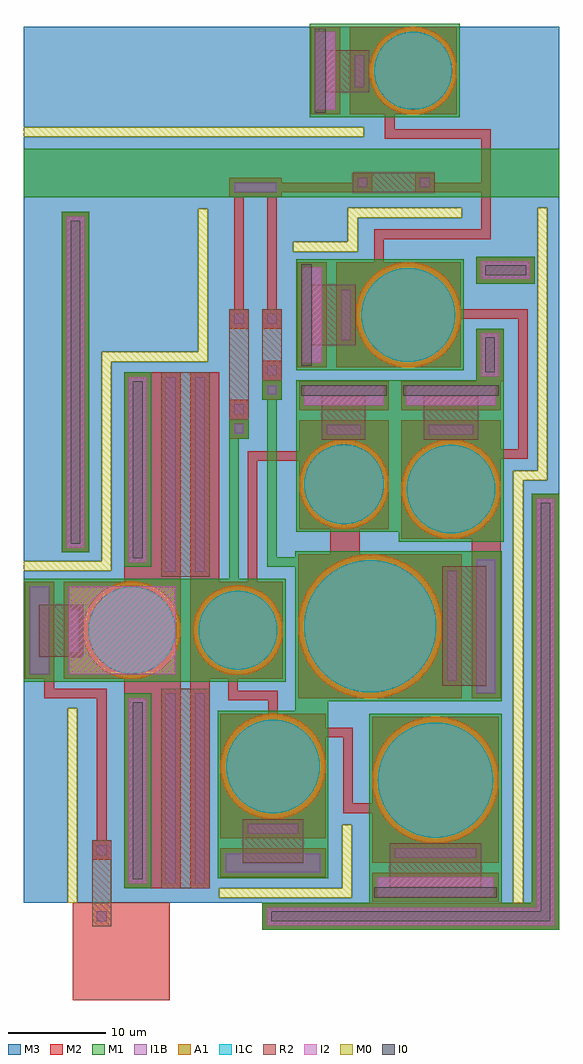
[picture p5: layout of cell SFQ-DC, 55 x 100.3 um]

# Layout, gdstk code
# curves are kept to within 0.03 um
from math import pi, radians
import gdstk
lib = gdstk.Library(unit=1e-6, precision=1e-09)
def R(c, l, rs):  # rectangles x0, y0, x1, y1
    for r in rs: c.add(gdstk.rectangle(r[:2], r[2:], *l))
def P(c, l, *ps):  # polygons
    for p in ps: c.add(gdstk.Polygon(p, *l))
M1 = (1, 0)
I1B = (3, 0)
I1C = (4, 0)
A1 = (5, 0)
M2 = (6, 0)
I2 = (8, 0)
R2 = (9, 0)
M3 = (10, 0)
M0 = (30, 0)
I0 = (31, 0)

ak_qc1p0r381 = lib.new_cell('ak_qc1p0r381')
R(ak_qc1p0r381, I1B, [(-2.5,-5.5,2.6,-3.5), (-2.1,-1.5,2.2,-0.5)])
R(ak_qc1p0r381, M2, [(-3,-6,3.1,-3), (-3,-2,3.1,0)])
R(ak_qc1p0r381, R2, [(-2.6,-4.5,2.7,0)])

ak_qc1p1j250 = lib.new_cell('ak_qc1p1j250')
P(ak_qc1p1j250, I1B, [(0,-4.5),(-0.936,-4.402),(-1.686,-4.172),(-2.516,-3.731),(-3.182,-3.182),(-3.731,-2.516),(-4.172,-1.686),(-4.402,-0.936),(-4.5,0),(-4.402,0.936),(-4.172,1.686),(-3.731,2.516),(-3.182,3.182),(-2.516,3.731),(-1.686,4.172),(-0.936,4.402),(0,4.5),(0.936,4.402),(1.686,4.172),(2.516,3.731),(3.182,3.182),(3.731,2.516),(4.172,1.686),(4.402,0.936),(4.5,0),(4.402,-0.936),(4.172,-1.686),(3.731,-2.516),(3.182,-3.182),(2.516,-3.731),(1.686,-4.172),(0.936,-4.402)])
P(ak_qc1p1j250, I1C, [(-0.078,-4.46),(-0.927,-4.363),(-1.743,-4.106),(-2.494,-3.698),(-3.154,-3.154),(-3.698,-2.494),(-4.136,-1.671),(-4.393,-0.775),(-4.46,0.078),(-4.363,0.927),(-4.106,1.743),(-3.698,2.494),(-3.154,3.154),(-2.494,3.698),(-1.671,4.136),(-0.775,4.393),(0.078,4.46),(0.927,4.363),(1.743,4.106),(2.494,3.698),(3.154,3.154),(3.698,2.494),(4.136,1.671),(4.393,0.775),(4.46,-0.078),(4.363,-0.927),(4.106,-1.743),(3.698,-2.494),(3.154,-3.154),(2.494,-3.698),(1.671,-4.136),(0.775,-4.393)])
P(ak_qc1p1j250, A1, [(0,-5),(-1.04,-4.891),(-1.954,-4.603),(-2.796,-4.145),(-3.536,-3.536),(-4.145,-2.796),(-4.603,-1.954),(-4.891,-1.04),(-5,0),(-4.891,1.04),(-4.603,1.954),(-4.145,2.796),(-3.536,3.536),(-2.796,4.145),(-1.954,4.603),(-1.04,4.891),(0,5),(1.04,4.891),(1.954,4.603),(2.796,4.145),(3.536,3.536),(4.145,2.796),(4.603,1.954),(4.891,1.04),(5,0),(4.891,-1.04),(4.603,-1.954),(4.145,-2.796),(3.536,-3.536),(2.796,-4.145),(1.954,-4.603),(1.04,-4.891)])

ak_qc1p1j250s = lib.new_cell('ak_qc1p1j250s')
R(ak_qc1p1j250s, M1, [(-5.3,-11.1,5.3,5.3)])
R(ak_qc1p1j250s, I1B, [(-4.5,-10.5,4.5,-8.5)])
R(ak_qc1p1j250s, M2, [(-5,-11,5,-8), (-5,-7,5,5)])
ak_qc1p1j250s.add(gdstk.Reference(ak_qc1p0r381, (0,-5)))
ak_qc1p1j250s.add(gdstk.Reference(ak_qc1p1j250, (0,0)))

ak_qc1p1j250sgu = lib.new_cell('ak_qc1p1j250sgu')
R(ak_qc1p1j250sgu, I2, [(-4.5,-6.5,4.5,4.5)])
R(ak_qc1p1j250sgu, M3, [(-5,-7,5,5)])
ak_qc1p1j250sgu.add(gdstk.Reference(ak_qc1p1j250s, (0,0)))

ak_qc1p0r328 = lib.new_cell('ak_qc1p0r328')
R(ak_qc1p0r328, I1B, [(-3,-5.5,3,-3.5), (-2.6,-1.5,2.6,-0.5)])
R(ak_qc1p0r328, M2, [(-3.5,-6,3.5,-3), (-3.5,-2,3.5,0)])
R(ak_qc1p0r328, R2, [(-3.1,-4.5,3.1,0)])

ak_qc1p1j450 = lib.new_cell('ak_qc1p1j450')
P(ak_qc1p1j450, I1B, [(0,-4.8),(-0.916,-4.712),(-1.876,-4.418),(-2.684,-3.979),(-3.394,-3.394),(-3.979,-2.684),(-4.418,-1.876),(-4.712,-0.916),(-4.8,0),(-4.712,0.916),(-4.418,1.876),(-3.979,2.684),(-3.394,3.394),(-2.684,3.979),(-1.876,4.418),(-0.916,4.712),(0,4.8),(0.916,4.712),(1.876,4.418),(2.684,3.979),(3.394,3.394),(3.979,2.684),(4.418,1.876),(4.712,0.916),(4.8,0),(4.712,-0.916),(4.418,-1.876),(3.979,-2.684),(3.394,-3.394),(2.684,-3.979),(1.876,-4.418),(0.916,-4.712)])
P(ak_qc1p1j450, I1C, [(0,-4.804),(-0.917,-4.716),(-1.8,-4.454),(-2.686,-3.983),(-3.397,-3.397),(-3.983,-2.686),(-4.454,-1.8),(-4.716,-0.917),(-4.804,0),(-4.716,0.917),(-4.454,1.8),(-3.983,2.686),(-3.397,3.397),(-2.686,3.983),(-1.8,4.454),(-0.917,4.716),(0,4.804),(0.917,4.716),(1.8,4.454),(2.686,3.983),(3.397,3.397),(3.983,2.686),(4.454,1.8),(4.716,0.917),(4.804,0),(4.716,-0.917),(4.454,-1.8),(3.983,-2.686),(3.397,-3.397),(2.686,-3.983),(1.8,-4.454),(0.917,-4.716)])
P(ak_qc1p1j450, A1, [(0,-5.4),(-1.03,-5.301),(-2.11,-4.971),(-3.02,-4.477),(-3.818,-3.818),(-4.477,-3.02),(-4.971,-2.11),(-5.301,-1.03),(-5.4,0),(-5.301,1.03),(-4.971,2.11),(-4.477,3.02),(-3.818,3.818),(-3.02,4.477),(-2.11,4.971),(-1.03,5.301),(0,5.4),(1.03,5.301),(2.11,4.971),(3.02,4.477),(3.818,3.818),(4.477,3.02),(4.971,2.11),(5.301,1.03),(5.4,0),(5.301,-1.03),(4.971,-2.11),(4.477,-3.02),(3.818,-3.818),(3.02,-4.477),(2.11,-4.971),(1.03,-5.301)])

ak_qc1p1j450s = lib.new_cell('ak_qc1p1j450s')
R(ak_qc1p1j450s, M1, [(-5.7,-11.5,5.7,5.7)])
R(ak_qc1p1j450s, I1B, [(-4.9,-10.9,4.9,-8.9)])
R(ak_qc1p1j450s, M2, [(-5.4,-11.4,5.4,-8.4), (-5.4,-7.4,5.4,5.4)])
ak_qc1p1j450s.add(gdstk.Reference(ak_qc1p0r328, (0,-5.4)))
ak_qc1p1j450s.add(gdstk.Reference(ak_qc1p1j450, (0,0)))

ak_qc1vm2r2_3 = lib.new_cell('ak_qc1vm2r2$3')
R(ak_qc1vm2r2_3, I1B, [(-0.5,-0.5,0.5,0.5)])
R(ak_qc1vm2r2_3, M2, [(-1,-1,1,1)])
R(ak_qc1vm2r2_3, R2, [(-1,-1,1,1)])

ak_qc1p0r326 = lib.new_cell('ak_qc1p0r326')
R(ak_qc1p0r326, I1B, [(-3,-5.5,3,-3.5), (-2.6,-1.5,2.6,-0.5)])
R(ak_qc1p0r326, M2, [(-3.5,-6,3.5,-3), (-3.5,-2,3.5,0)])
R(ak_qc1p0r326, R2, [(-3.1,-4.5,3.1,0)])

ak_qc1p1j460 = lib.new_cell('ak_qc1p1j460')
P(ak_qc1p1j460, I1B, [(0,-4.8),(-0.916,-4.712),(-1.876,-4.418),(-2.684,-3.979),(-3.394,-3.394),(-3.979,-2.684),(-4.418,-1.876),(-4.712,-0.916),(-4.8,0),(-4.712,0.916),(-4.418,1.876),(-3.979,2.684),(-3.394,3.394),(-2.684,3.979),(-1.876,4.418),(-0.916,4.712),(0,4.8),(0.916,4.712),(1.876,4.418),(2.684,3.979),(3.394,3.394),(3.979,2.684),(4.418,1.876),(4.712,0.916),(4.8,0),(4.712,-0.916),(4.418,-1.876),(3.979,-2.684),(3.394,-3.394),(2.684,-3.979),(1.876,-4.418),(0.916,-4.712)])
P(ak_qc1p1j460, I1C, [(-0.084,-4.82),(-1.084,-4.697),(-1.961,-4.404),(-2.765,-3.949),(-3.468,-3.349),(-4.043,-2.625),(-4.469,-1.806),(-4.732,-0.92),(-4.82,0.084),(-4.697,1.084),(-4.404,1.961),(-3.949,2.765),(-3.349,3.468),(-2.625,4.043),(-1.806,4.469),(-0.92,4.732),(0.084,4.82),(1.084,4.697),(1.961,4.404),(2.765,3.949),(3.468,3.349),(4.043,2.625),(4.469,1.806),(4.732,0.92),(4.82,-0.084),(4.697,-1.084),(4.404,-1.961),(3.949,-2.765),(3.349,-3.468),(2.625,-4.043),(1.806,-4.469),(0.92,-4.732)])
P(ak_qc1p1j460, A1, [(0,-5.4),(-1.03,-5.301),(-2.11,-4.971),(-3.02,-4.477),(-3.818,-3.818),(-4.477,-3.02),(-4.971,-2.11),(-5.301,-1.03),(-5.4,0),(-5.301,1.03),(-4.971,2.11),(-4.477,3.02),(-3.818,3.818),(-3.02,4.477),(-2.11,4.971),(-1.03,5.301),(0,5.4),(1.03,5.301),(2.11,4.971),(3.02,4.477),(3.818,3.818),(4.477,3.02),(4.971,2.11),(5.301,1.03),(5.4,0),(5.301,-1.03),(4.971,-2.11),(4.477,-3.02),(3.818,-3.818),(3.02,-4.477),(2.11,-4.971),(1.03,-5.301)])

ak_qc1p1j460s = lib.new_cell('ak_qc1p1j460s')
R(ak_qc1p1j460s, M1, [(-5.7,-11.5,5.7,5.7)])
R(ak_qc1p1j460s, I1B, [(-4.9,-10.9,4.9,-8.9)])
R(ak_qc1p1j460s, M2, [(-5.4,-11.4,5.4,-8.4), (-5.4,-7.4,5.4,5.4)])
ak_qc1p1j460s.add(gdstk.Reference(ak_qc1p0r326, (0,-5.4)))
ak_qc1p1j460s.add(gdstk.Reference(ak_qc1p1j460, (0,0)))

ak_qc1p1j460sgd = lib.new_cell('ak_qc1p1j460sgd')
R(ak_qc1p1j460sgd, I2, [(-4.9,-10.9,4.9,-8.9)])
R(ak_qc1p1j460sgd, M3, [(-5.4,-11.4,5.4,-8.4)])
R(ak_qc1p1j460sgd, I0, [(-5.2,-11,5.2,-9.9)])
ak_qc1p1j460sgd.add(gdstk.Reference(ak_qc1p1j460s, (0,0)))

ak_qc1p1j000 = lib.new_cell('ak_qc1p1j000')
P(ak_qc1p1j000, I1B, [(0,-4),(-0.763,-3.927),(-1.498,-3.709),(-2.179,-3.355),(-2.779,-2.877),(-3.277,-2.294),(-3.682,-1.563),(-3.913,-0.832),(-4,0),(-3.927,0.763),(-3.709,1.498),(-3.355,2.179),(-2.877,2.779),(-2.294,3.277),(-1.563,3.682),(-0.832,3.913),(0,4),(0.763,3.927),(1.498,3.709),(2.179,3.355),(2.779,2.877),(3.277,2.294),(3.682,1.563),(3.913,0.832),(4,0),(3.927,-0.763),(3.709,-1.498),(3.355,-2.179),(2.877,-2.779),(2.294,-3.277),(1.563,-3.682),(0.832,-3.913)])
P(ak_qc1p1j000, I1C, [(-0.38,-3.98),(-1.18,-3.82),(-1.94,-3.5),(-2.62,-3.02),(-3.1,-2.52),(-3.46,-2),(-3.8,-1.24),(-3.96,-0.56),(-3.98,0.38),(-3.8,1.24),(-3.52,1.9),(-3.14,2.48),(-2.54,3.08),(-1.82,3.56),(-1.18,3.82),(-0.38,3.98),(0.38,3.98),(1.12,3.84),(1.86,3.54),(2.48,3.14),(3.16,2.44),(3.54,1.86),(3.84,1.12),(3.98,0.38),(3.98,-0.4),(3.84,-1.12),(3.54,-1.86),(3.1,-2.52),(2.5,-3.12),(1.96,-3.48),(1.56,-3.68),(1.04,-3.86),(0.38,-3.98)])
P(ak_qc1p1j000, A1, [(0,-4.5),(-0.936,-4.402),(-1.686,-4.172),(-2.516,-3.731),(-3.182,-3.182),(-3.731,-2.516),(-4.172,-1.686),(-4.402,-0.936),(-4.5,0),(-4.402,0.936),(-4.172,1.686),(-3.731,2.516),(-3.182,3.182),(-2.516,3.731),(-1.686,4.172),(-0.936,4.402),(0,4.5),(0.936,4.402),(1.686,4.172),(2.516,3.731),(3.182,3.182),(3.731,2.516),(4.172,1.686),(4.402,0.936),(4.5,0),(4.402,-0.936),(4.172,-1.686),(3.731,-2.516),(3.182,-3.182),(2.516,-3.731),(1.686,-4.172),(0.936,-4.402)])

ak_qc1p0r476 = lib.new_cell('ak_qc1p0r476')
R(ak_qc1p0r476, I1B, [(-2,-5.5,2.1,-3.5), (-1.6,-1.5,1.7,-0.5)])
R(ak_qc1p0r476, M2, [(-2.5,-6,2.6,-3), (-2.5,-2,2.6,0)])
R(ak_qc1p0r476, R2, [(-2.1,-4.5,2.2,0)])

ak_qc1p1j000s = lib.new_cell('ak_qc1p1j000s')
R(ak_qc1p1j000s, M1, [(-4.8,-10.6,4.8,4.8)])
R(ak_qc1p1j000s, I1B, [(-4,-10,4,-8)])
R(ak_qc1p1j000s, M2, [(-4.5,-10.5,4.5,-7.5), (-4.5,-6.5,4.5,4.5)])
ak_qc1p1j000s.add(gdstk.Reference(ak_qc1p1j000, (0,0)))
ak_qc1p1j000s.add(gdstk.Reference(ak_qc1p0r476, (0,-4.5)))

ak_qc1p1j000sgd = lib.new_cell('ak_qc1p1j000sgd')
R(ak_qc1p1j000sgd, I2, [(-4,-10,4,-8)])
R(ak_qc1p1j000sgd, M3, [(-4.5,-10.5,4.5,-7.5)])
R(ak_qc1p1j000sgd, I0, [(-4.3,-10.1,4.3,-9)])
ak_qc1p1j000sgd.add(gdstk.Reference(ak_qc1p1j000s, (0,0)))

ak_qc1vm21_2 = lib.new_cell('ak_qc1vm21$2')
R(ak_qc1vm21_2, M1, [(-1,-1,1,1)])
R(ak_qc1vm21_2, I1B, [(-0.5,-0.5,0.5,0.5)])
R(ak_qc1vm21_2, M2, [(-1,-1,1,1)])

ak_qc1p0r216 = lib.new_cell('ak_qc1p0r216')
R(ak_qc1p0r216, I1B, [(-4.6,-5.5,4.6,-3.5), (-4.2,-1.5,4.2,-0.5)])
R(ak_qc1p0r216, M2, [(-5.1,-6,5.1,-3), (-5.1,-2,5.1,0)])
R(ak_qc1p0r216, R2, [(-4.7,-4.5,4.7,0)])

ak_qc1p2j200 = lib.new_cell('ak_qc1p2j200')
P(ak_qc1p2j200, I1B, [(0,-5.9),(-1.126,-5.792),(-1.725,-5.642),(-2.305,-5.431),(-3.299,-4.891),(-4.172,-4.172),(-4.891,-3.299),(-5.431,-2.305),(-5.642,-1.725),(-5.792,-1.126),(-5.9,0),(-5.792,1.126),(-5.642,1.725),(-5.431,2.305),(-4.891,3.299),(-4.172,4.172),(-3.299,4.891),(-2.305,5.431),(-1.725,5.642),(-1.126,5.792),(0,5.9),(1.126,5.792),(1.725,5.642),(2.305,5.431),(3.299,4.891),(4.172,4.172),(4.891,3.299),(5.431,2.305),(5.642,1.725),(5.792,1.126),(5.9,0),(5.792,-1.126),(5.642,-1.725),(5.431,-2.305),(4.891,-3.299),(4.172,-4.172),(3.299,-4.891),(2.305,-5.431),(1.725,-5.642),(1.126,-5.792)])
P(ak_qc1p2j200, I1C, [(0,-5.917),(-1.129,-5.809),(-1.73,-5.659),(-2.312,-5.447),(-3.309,-4.906),(-4.184,-4.184),(-4.906,-3.309),(-5.447,-2.312),(-5.659,-1.73),(-5.809,-1.129),(-5.917,0),(-5.809,1.129),(-5.659,1.73),(-5.447,2.312),(-4.906,3.309),(-4.184,4.184),(-3.309,4.906),(-2.312,5.447),(-1.73,5.659),(-1.129,5.809),(0,5.917),(1.129,5.809),(1.73,5.659),(2.312,5.447),(3.309,4.906),(4.184,4.184),(4.906,3.309),(5.447,2.312),(5.659,1.73),(5.809,1.129),(5.917,0),(5.809,-1.129),(5.659,-1.73),(5.447,-2.312),(4.906,-3.309),(4.184,-4.184),(3.309,-4.906),(2.312,-5.447),(1.73,-5.659),(1.129,-5.809)])
P(ak_qc1p2j200, A1, [(0,-6.5),(-1.24,-6.381),(-2.435,-6.027),(-3.052,-5.739),(-3.635,-5.389),(-4.596,-4.596),(-5.389,-3.635),(-5.739,-3.052),(-6.027,-2.435),(-6.381,-1.24),(-6.5,0),(-6.381,1.24),(-6.027,2.435),(-5.739,3.052),(-5.389,3.635),(-4.596,4.596),(-3.635,5.389),(-3.052,5.739),(-2.435,6.027),(-1.24,6.381),(0,6.5),(1.24,6.381),(2.435,6.027),(3.052,5.739),(3.635,5.389),(4.596,4.596),(5.389,3.635),(5.739,3.052),(6.027,2.435),(6.381,1.24),(6.5,0),(6.381,-1.24),(6.027,-2.435),(5.739,-3.052),(5.389,-3.635),(4.596,-4.596),(3.635,-5.389),(3.052,-5.739),(2.435,-6.027),(1.24,-6.381)])

ak_qc1p2j200s = lib.new_cell('ak_qc1p2j200s')
R(ak_qc1p2j200s, M1, [(-6.8,-12.6,6.8,6.8)])
R(ak_qc1p2j200s, I1B, [(-6,-12,6,-10)])
R(ak_qc1p2j200s, M2, [(-6.5,-12.5,6.5,-9.5), (-6.5,-8.5,6.5,6.5)])
ak_qc1p2j200s.add(gdstk.Reference(ak_qc1p0r216, (0,-6.5)))
ak_qc1p2j200s.add(gdstk.Reference(ak_qc1p2j200, (0,0)))

ak_qc1p2j200sgd = lib.new_cell('ak_qc1p2j200sgd')
R(ak_qc1p2j200sgd, I2, [(-6,-12,6,-10)])
R(ak_qc1p2j200sgd, M3, [(-6.5,-12.5,6.5,-9.5)])
R(ak_qc1p2j200sgd, I0, [(-6.3,-12.1,6.3,-11)])
ak_qc1p2j200sgd.add(gdstk.Reference(ak_qc1p2j200s, (0,0)))

ak_qc1p1j030 = lib.new_cell('ak_qc1p1j030')
P(ak_qc1p1j030, I1B, [(0,-4),(-0.763,-3.927),(-1.498,-3.709),(-2.179,-3.355),(-2.779,-2.877),(-3.277,-2.294),(-3.682,-1.563),(-3.913,-0.832),(-4,0),(-3.927,0.763),(-3.709,1.498),(-3.355,2.179),(-2.877,2.779),(-2.294,3.277),(-1.563,3.682),(-0.832,3.913),(0,4),(0.763,3.927),(1.498,3.709),(2.179,3.355),(2.779,2.877),(3.277,2.294),(3.682,1.563),(3.913,0.832),(4,0),(3.927,-0.763),(3.709,-1.498),(3.355,-2.179),(2.877,-2.779),(2.294,-3.277),(1.563,-3.682),(0.832,-3.913)])
P(ak_qc1p1j030, I1C, [(0,-4.049),(-0.773,-3.974),(-1.517,-3.754),(-2.264,-3.357),(-2.863,-2.863),(-3.357,-2.264),(-3.754,-1.517),(-3.974,-0.773),(-4.049,0),(-3.974,0.773),(-3.754,1.517),(-3.357,2.264),(-2.863,2.863),(-2.264,3.357),(-1.517,3.754),(-0.773,3.974),(0,4.049),(0.773,3.974),(1.517,3.754),(2.264,3.357),(2.863,2.863),(3.357,2.264),(3.754,1.517),(3.974,0.773),(4.049,0),(3.974,-0.773),(3.754,-1.517),(3.357,-2.264),(2.863,-2.863),(2.264,-3.357),(1.517,-3.754),(0.773,-3.974)])
P(ak_qc1p1j030, A1, [(0,-4.6),(-0.878,-4.515),(-1.723,-4.265),(-2.572,-3.814),(-3.253,-3.253),(-3.814,-2.572),(-4.265,-1.723),(-4.515,-0.878),(-4.6,0),(-4.515,0.878),(-4.265,1.723),(-3.814,2.572),(-3.253,3.253),(-2.572,3.814),(-1.723,4.265),(-0.878,4.515),(0,4.6),(0.878,4.515),(1.723,4.265),(2.572,3.814),(3.253,3.253),(3.814,2.572),(4.265,1.723),(4.515,0.878),(4.6,0),(4.515,-0.878),(4.265,-1.723),(3.814,-2.572),(3.253,-3.253),(2.572,-3.814),(1.723,-4.265),(0.878,-4.515)])

ak_qc1p0r454 = lib.new_cell('ak_qc1p0r454')
R(ak_qc1p0r454, I1B, [(-2.1,-5.5,2.2,-3.5), (-1.7,-1.5,1.8,-0.5)])
R(ak_qc1p0r454, M2, [(-2.6,-6,2.7,-3), (-2.6,-2,2.7,0)])
R(ak_qc1p0r454, R2, [(-2.2,-4.5,2.3,0)])

ak_qc1p1j050 = lib.new_cell('ak_qc1p1j050')
P(ak_qc1p1j050, I1B, [(0,-4.1),(-0.782,-4.025),(-1.602,-3.774),(-2.293,-3.399),(-2.899,-2.899),(-3.399,-2.293),(-3.774,-1.602),(-4.025,-0.782),(-4.1,0),(-4.025,0.782),(-3.774,1.602),(-3.399,2.293),(-2.899,2.899),(-2.293,3.399),(-1.602,3.774),(-0.782,4.025),(0,4.1),(0.782,4.025),(1.602,3.774),(2.293,3.399),(2.899,2.899),(3.399,2.293),(3.774,1.602),(4.025,0.782),(4.1,0),(4.025,-0.782),(3.774,-1.602),(3.399,-2.293),(2.899,-2.899),(2.293,-3.399),(1.602,-3.774),(0.782,-4.025)])
P(ak_qc1p1j050, I1C, [(0,-4.088),(-0.85,-3.999),(-1.597,-3.763),(-2.286,-3.389),(-2.891,-2.891),(-3.389,-2.286),(-3.763,-1.597),(-3.999,-0.85),(-4.088,0),(-3.999,0.85),(-3.763,1.597),(-3.389,2.286),(-2.891,2.891),(-2.286,3.389),(-1.597,3.763),(-0.85,3.999),(0,4.088),(0.85,3.999),(1.597,3.763),(2.286,3.389),(2.891,2.891),(3.389,2.286),(3.763,1.597),(3.999,0.85),(4.088,0),(3.999,-0.85),(3.763,-1.597),(3.389,-2.286),(2.891,-2.891),(2.286,-3.389),(1.597,-3.763),(0.85,-3.999)])
P(ak_qc1p1j050, A1, [(0,-4.6),(-0.878,-4.515),(-1.723,-4.265),(-2.572,-3.814),(-3.253,-3.253),(-3.814,-2.572),(-4.265,-1.723),(-4.515,-0.878),(-4.6,0),(-4.515,0.878),(-4.265,1.723),(-3.814,2.572),(-3.253,3.253),(-2.572,3.814),(-1.723,4.265),(-0.878,4.515),(0,4.6),(0.878,4.515),(1.723,4.265),(2.572,3.814),(3.253,3.253),(3.814,2.572),(4.265,1.723),(4.515,0.878),(4.6,0),(4.515,-0.878),(4.265,-1.723),(3.814,-2.572),(3.253,-3.253),(2.572,-3.814),(1.723,-4.265),(0.878,-4.515)])

ak_qc1p1j050s = lib.new_cell('ak_qc1p1j050s')
R(ak_qc1p1j050s, M1, [(-4.9,-10.7,4.9,4.9)])
R(ak_qc1p1j050s, I1B, [(-4.1,-10.1,4.1,-8.1)])
R(ak_qc1p1j050s, M2, [(-4.6,-10.6,4.6,-7.6), (-4.6,-6.6,4.6,4.6)])
ak_qc1p1j050s.add(gdstk.Reference(ak_qc1p0r454, (0,-4.6)))
ak_qc1p1j050s.add(gdstk.Reference(ak_qc1p1j050, (0,0)))

ak_qc1p1j050sgd = lib.new_cell('ak_qc1p1j050sgd')
R(ak_qc1p1j050sgd, I2, [(-4.1,-10.1,4.1,-8.1)])
R(ak_qc1p1j050sgd, M3, [(-4.6,-10.6,4.6,-7.6)])
R(ak_qc1p1j050sgd, I0, [(-4.4,-10.2,4.4,-9.1)])
ak_qc1p1j050sgd.add(gdstk.Reference(ak_qc1p1j050s, (0,0)))

ak_qc1p1j300 = lib.new_cell('ak_qc1p1j300')
P(ak_qc1p1j300, I1B, [(0,-4.5),(-0.936,-4.402),(-1.686,-4.172),(-2.516,-3.731),(-3.182,-3.182),(-3.731,-2.516),(-4.172,-1.686),(-4.402,-0.936),(-4.5,0),(-4.402,0.936),(-4.172,1.686),(-3.731,2.516),(-3.182,3.182),(-2.516,3.731),(-1.686,4.172),(-0.936,4.402),(0,4.5),(0.936,4.402),(1.686,4.172),(2.516,3.731),(3.182,3.182),(3.731,2.516),(4.172,1.686),(4.402,0.936),(4.5,0),(4.402,-0.936),(4.172,-1.686),(3.731,-2.516),(3.182,-3.182),(2.516,-3.731),(1.686,-4.172),(0.936,-4.402)])
P(ak_qc1p1j300, I1C, [(0,-4.549),(-0.79,-4.48),(-1.63,-4.247),(-2.477,-3.815),(-3.16,-3.272),(-3.771,-2.544),(-4.187,-1.777),(-4.465,-0.868),(-4.549,0),(-4.48,0.79),(-4.247,1.63),(-3.815,2.477),(-3.272,3.16),(-2.544,3.771),(-1.777,4.187),(-0.868,4.465),(0,4.549),(0.79,4.48),(1.63,4.247),(2.477,3.815),(3.16,3.272),(3.771,2.544),(4.187,1.777),(4.465,0.868),(4.549,0),(4.48,-0.79),(4.247,-1.63),(3.815,-2.477),(3.272,-3.16),(2.544,-3.771),(1.777,-4.187),(0.868,-4.465)])
P(ak_qc1p1j300, A1, [(0,-5.1),(-0.886,-5.023),(-1.91,-4.729),(-2.778,-4.277),(-3.543,-3.669),(-4.178,-2.925),(-4.695,-1.993),(-4.989,-1.06),(-5.1,0),(-5.023,0.886),(-4.729,1.91),(-4.277,2.778),(-3.669,3.543),(-2.925,4.178),(-1.993,4.695),(-1.06,4.989),(0,5.1),(0.886,5.023),(1.91,4.729),(2.778,4.277),(3.543,3.669),(4.178,2.925),(4.695,1.993),(4.989,1.06),(5.1,0),(5.023,-0.886),(4.729,-1.91),(4.277,-2.778),(3.669,-3.543),(2.925,-4.178),(1.993,-4.695),(1.06,-4.989)])

ak_qc1p0r366 = lib.new_cell('ak_qc1p0r366')
R(ak_qc1p0r366, I1B, [(-2.7,-5.5,2.7,-3.5), (-2.3,-1.5,2.3,-0.5)])
R(ak_qc1p0r366, M2, [(-3.2,-6,3.2,-3), (-3.2,-2,3.2,0)])
R(ak_qc1p0r366, R2, [(-2.8,-4.5,2.8,0)])

ak_qc1p1j300s = lib.new_cell('ak_qc1p1j300s')
R(ak_qc1p1j300s, M1, [(-5.4,-11.2,5.4,5.4)])
R(ak_qc1p1j300s, I1B, [(-4.6,-10.6,4.6,-8.6)])
R(ak_qc1p1j300s, M2, [(-5.1,-11.1,5.1,-8.1), (-5.1,-7.1,5.1,5.1)])
ak_qc1p1j300s.add(gdstk.Reference(ak_qc1p1j300, (0,0)))
ak_qc1p1j300s.add(gdstk.Reference(ak_qc1p0r366, (0,-5.1)))

ak_qc1p1j300sgd = lib.new_cell('ak_qc1p1j300sgd')
R(ak_qc1p1j300sgd, I2, [(-4.6,-10.6,4.6,-8.6)])
R(ak_qc1p1j300sgd, M3, [(-5.1,-11.1,5.1,-8.1)])
R(ak_qc1p1j300sgd, I0, [(-4.9,-10.7,4.9,-9.6)])
ak_qc1p1j300sgd.add(gdstk.Reference(ak_qc1p1j300s, (0,0)))

ak_qc1p0r164 = lib.new_cell('ak_qc1p0r164')
R(ak_qc1p0r164, I1B, [(-6,-5.5,6.1,-3.5), (-5.6,-1.5,5.7,-0.5)])
R(ak_qc1p0r164, M2, [(-6.5,-6,6.6,-3), (-6.5,-2,6.6,0)])
R(ak_qc1p0r164, R2, [(-6.1,-4.5,6.2,0)])

ak_qc1p2j900 = lib.new_cell('ak_qc1p2j900')
P(ak_qc1p2j900, I1B, [(0,-6.8),(-0.711,-6.763),(-1.298,-6.675),(-1.874,-6.537),(-2.547,-6.305),(-3.087,-6.059),(-3.704,-5.703),(-4.279,-5.285),(-4.724,-4.892),(-5.209,-4.371),(-5.637,-3.803),(-6.004,-3.192),(-6.259,-2.657),(-6.503,-1.988),(-6.675,-1.298),(-6.763,-0.711),(-6.8,0),(-6.763,0.711),(-6.675,1.298),(-6.537,1.874),(-6.305,2.547),(-6.059,3.087),(-5.703,3.704),(-5.285,4.279),(-4.892,4.724),(-4.371,5.209),(-3.803,5.637),(-3.192,6.004),(-2.657,6.259),(-1.988,6.503),(-1.298,6.675),(-0.711,6.763),(0,6.8),(0.711,6.763),(1.298,6.675),(1.874,6.537),(2.547,6.305),(3.087,6.059),(3.704,5.703),(4.279,5.285),(4.724,4.892),(5.209,4.371),(5.637,3.803),(6.004,3.192),(6.259,2.657),(6.503,1.988),(6.675,1.298),(6.763,0.711),(6.8,0),(6.763,-0.711),(6.675,-1.298),(6.537,-1.874),(6.305,-2.547),(6.059,-3.087),(5.703,-3.704),(5.285,-4.279),(4.892,-4.724),(4.371,-5.209),(3.803,-5.637),(3.192,-6.004),(2.657,-6.259),(1.988,-6.503),(1.298,-6.675),(0.711,-6.763)])
P(ak_qc1p2j900, I1C, [(0,-6.794),(-0.71,-6.757),(-1.296,-6.669),(-1.986,-6.497),(-2.655,-6.254),(-3.294,-5.942),(-3.799,-5.632),(-4.275,-5.28),(-4.804,-4.804),(-5.28,-4.275),(-5.632,-3.799),(-5.942,-3.294),(-6.254,-2.655),(-6.497,-1.986),(-6.669,-1.296),(-6.757,-0.71),(-6.794,0),(-6.757,0.71),(-6.669,1.296),(-6.497,1.986),(-6.254,2.655),(-5.942,3.294),(-5.632,3.799),(-5.28,4.275),(-4.804,4.804),(-4.275,5.28),(-3.799,5.632),(-3.294,5.942),(-2.655,6.254),(-1.986,6.497),(-1.296,6.669),(-0.71,6.757),(0,6.794),(0.71,6.757),(1.296,6.669),(1.986,6.497),(2.655,6.254),(3.294,5.942),(3.799,5.632),(4.275,5.28),(4.804,4.804),(5.28,4.275),(5.632,3.799),(5.942,3.294),(6.254,2.655),(6.497,1.986),(6.669,1.296),(6.757,0.71),(6.794,0),(6.757,-0.71),(6.669,-1.296),(6.497,-1.986),(6.254,-2.655),(5.942,-3.294),(5.632,-3.799),(5.28,-4.275),(4.804,-4.804),(4.275,-5.28),(3.799,-5.632),(3.294,-5.942),(2.655,-6.254),(1.986,-6.497),(1.296,-6.669),(0.71,-6.757)])
P(ak_qc1p2j900, A1, [(0,-7.4),(-0.645,-7.372),(-1.412,-7.264),(-2.164,-7.077),(-2.891,-6.812),(-3.474,-6.534),(-4.138,-6.135),(-4.757,-5.669),(-5.233,-5.233),(-5.669,-4.757),(-6.135,-4.138),(-6.534,-3.474),(-6.812,-2.891),(-7.077,-2.164),(-7.264,-1.412),(-7.372,-0.645),(-7.4,0),(-7.372,0.645),(-7.264,1.412),(-7.077,2.164),(-6.812,2.891),(-6.534,3.474),(-6.135,4.138),(-5.669,4.757),(-5.233,5.233),(-4.757,5.669),(-4.138,6.135),(-3.474,6.534),(-2.891,6.812),(-2.164,7.077),(-1.412,7.264),(-0.645,7.372),(0,7.4),(0.645,7.372),(1.412,7.264),(2.164,7.077),(2.891,6.812),(3.474,6.534),(4.138,6.135),(4.757,5.669),(5.233,5.233),(5.669,4.757),(6.135,4.138),(6.534,3.474),(6.812,2.891),(7.077,2.164),(7.264,1.412),(7.372,0.645),(7.4,0),(7.372,-0.645),(7.264,-1.412),(7.077,-2.164),(6.812,-2.891),(6.534,-3.474),(6.135,-4.138),(5.669,-4.757),(5.233,-5.233),(4.757,-5.669),(4.138,-6.135),(3.474,-6.534),(2.891,-6.812),(2.164,-7.077),(1.412,-7.264),(0.645,-7.372)])

ak_qc1p2j900s = lib.new_cell('ak_qc1p2j900s')
R(ak_qc1p2j900s, M1, [(-7.7,-13.5,7.7,7.7)])
R(ak_qc1p2j900s, I1B, [(-6.9,-12.9,6.9,-10.9)])
R(ak_qc1p2j900s, M2, [(-7.4,-13.4,7.4,-10.4), (-7.4,-9.4,7.4,7.4)])
ak_qc1p2j900s.add(gdstk.Reference(ak_qc1p0r164, (0,-7.4)))
ak_qc1p2j900s.add(gdstk.Reference(ak_qc1p2j900, (0,0)))

sfq_dc = lib.new_cell('SFQ-DC')
R(sfq_dc, M1, [(-12.1,-70.3,-8.7,-69.3), (-23.6,-67.3,-13.1,-56.7), (-2.2,-51.9,-1.5,-36.3)])
R(sfq_dc, I1B, [(-18.4,-17,-14,-16)])
R(sfq_dc, M2, [(-35,-100,-25,-90), (-26.9,-88.5,-23.9,-67), (-22.9,-88.5,-20.9,-67), (-29.7,-68.5,-26.9,-67), (-22.9,-67,-13.4,-57), (-29.7,-57,-26.9,-55.5), (-26.9,-57,-23.9,-35.5), (-22.9,-57,-19.9,-35.5), (-8.5,-54.2,-5.5,-51.6), (6,-54.2,9,-52.6), (-18.9,-17.5,-13.5,-15.5)])
R(sfq_dc, R2, [(-25.9,-88.5,-20.9,-68), (-25.9,-56.5,-20.9,-35.5)])
R(sfq_dc, M3, [(11.3,-90,12.1,-46.6), (-40,-54.9,-35,-11.3), (-40,-10.3,-35,0), (-35,-10.3,-9.3,0)])
P(sfq_dc, M3, [(-9.3,-90),(-9.3,-89.5),(-6.3,-89.5),(-6.3,-82),(-7.3,-82),(-7.3,-88.5),(-9.3,-88.5),(-9.3,-23.1),(-5.7,-23.1),(-5.7,-19.6),(5,-19.6),(5,-18.6),(-6.7,-18.6),(-6.7,-22.1),(-9.3,-22.1),(-9.3,-11.3),(-5.1,-11.3),(-5.1,-10.3),(-9.3,-10.3),(-9.3,0),(12.1,0),(12.1,-45.6),(10.3,-45.6),(10.3,-90)],
  [(12.1,-90),(12.1,-46.6),(13.8,-46.6),(13.8,-18.6),(12.8,-18.6),(12.8,-45.6),(12.1,-45.6),(12.1,0),(15,0),(15,-90)],
  [(-34.5,-90),(-34.5,-70),(-35,-70),(-35,-55.9),(-31,-55.9),(-31,-34.4),(-21.1,-34.4),(-21.1,-18.7),(-22.1,-18.7),(-22.1,-33.4),(-32,-33.4),(-32,-54.9),(-35,-54.9),(-35,-11.3),(-9.3,-11.3),(-9.3,-22.1),(-12.3,-22.1),(-12.3,-23.1),(-9.3,-23.1),(-9.3,-88.5),(-19.9,-88.5),(-19.9,-89.5),(-9.3,-89.5),(-9.3,-90)],
  [(-40,-90),(-40,-55.9),(-35,-55.9),(-35,-70),(-35.5,-70),(-35.5,-90)])
sfq_dc.add(gdstk.FlexPath([(-34.7,-53.3),(-34.7,-19.7)], 1.4, ends="flush", simple_path=True, layer=3, datatype=0))  # I1B
sfq_dc.add(gdstk.FlexPath([(7.2,-25),(11.8,-25)], 1.4, ends="flush", simple_path=True, layer=3, datatype=0))  # I1B
sfq_dc.add(gdstk.FlexPath([(7.9,-35.7),(7.9,-31.7)], 1.4, ends="flush", simple_path=True, layer=3, datatype=0))  # I1B
sfq_dc.add(gdstk.FlexPath([(-24.9,-56),(-24.9,-36)], 1, ends="flush", simple_path=True, layer=3, datatype=0))  # I1B
sfq_dc.add(gdstk.FlexPath([(-21.9,-56),(-21.9,-36)], 1, ends="flush", simple_path=True, layer=3, datatype=0))  # I1B
sfq_dc.add(gdstk.FlexPath([(-28.3,-36.2),(-28.3,-54.8)], 1.4, ends="flush", simple_path=True, layer=3, datatype=0))  # I1B
sfq_dc.add(gdstk.FlexPath([(-14.8,-91.4),(13.6,-91.4),(13.6,-48.7)], 1.4, ends="flush", simple_path=True, layer=3, datatype=0))  # I1B
sfq_dc.add(gdstk.FlexPath([(-24.9,-68.5),(-24.9,-88)], 1, ends="flush", simple_path=True, layer=3, datatype=0))  # I1B
sfq_dc.add(gdstk.FlexPath([(-21.9,-68.5),(-21.9,-88)], 1, ends="flush", simple_path=True, layer=3, datatype=0))  # I1B
sfq_dc.add(gdstk.FlexPath([(-28.3,-87.8),(-28.3,-69.2)], 1.4, ends="flush", simple_path=True, layer=3, datatype=0))  # I1B
sfq_dc.add(gdstk.FlexPath([(0.2,-16),(-4.2,-16)], 2, ends="flush", simple_path=True, layer=9, datatype=0))  # R2
sfq_dc.add(gdstk.FlexPath([(-17.9,-38.3),(-17.9,-31)], 2, ends="flush", simple_path=True, layer=9, datatype=0))  # R2
sfq_dc.add(gdstk.FlexPath([(-14.5,-34.3),(-14.5,-31)], 2, ends="flush", simple_path=True, layer=9, datatype=0))  # R2
sfq_dc.add(gdstk.FlexPath([(-32,-85.6),(-32,-90.4)], 2, ends="flush", simple_path=True, layer=9, datatype=0))  # R2
sfq_dc.add(gdstk.FlexPath([(-3.5,-24.2),(-3.5,-21.3),(7.5,-21.3),(7.5,-11),(-2.4,-11),(-2.4,-9)], 1, ends="flush", simple_path=True, layer=6, datatype=0))  # M2
sfq_dc.add(gdstk.FlexPath([(-13.5,-16.5),(-6.2,-16.5)], 1, ends="flush", simple_path=True, layer=6, datatype=0))  # M2
sfq_dc.add(gdstk.FlexPath([(7.5,-16.5),(2.2,-16.5)], 1, ends="flush", simple_path=True, layer=6, datatype=0))  # M2
sfq_dc.add(gdstk.FlexPath([(-17.9,-29),(-17.9,-16.5)], 1, ends="flush", simple_path=True, layer=6, datatype=0))  # M2
sfq_dc.add(gdstk.FlexPath([(-14.5,-29),(-14.5,-16.5)], 1, ends="flush", simple_path=True, layer=6, datatype=0))  # M2
sfq_dc.add(gdstk.FlexPath([(-34.7,-54),(-34.7,-19)], 2.8, ends="flush", simple_path=True, layer=6, datatype=0))  # M2
sfq_dc.add(gdstk.FlexPath([(6.5,-25),(12.5,-25)], 2.8, ends="flush", simple_path=True, layer=6, datatype=0))  # M2
sfq_dc.add(gdstk.FlexPath([(4.9,-29.5),(11.3,-29.5),(11.3,-43.9),(9,-43.9)], 1, ends="flush", simple_path=True, layer=6, datatype=0))  # M2
sfq_dc.add(gdstk.FlexPath([(7.9,-36.4),(7.9,-31)], 2.8, ends="flush", simple_path=True, layer=6, datatype=0))  # M2
sfq_dc.add(gdstk.FlexPath([(-28.3,-35.5),(-28.3,-55.5)], 2.8, ends="flush", simple_path=True, layer=6, datatype=0))  # M2
sfq_dc.add(gdstk.FlexPath([(-16.5,-57),(-16.5,-44.1),(-11.7,-44.1)], 1, ends="flush", simple_path=True, layer=6, datatype=0))  # M2
sfq_dc.add(gdstk.FlexPath([(-15.5,-91.4),(13.6,-91.4),(13.6,-48)], 2.8, ends="flush", simple_path=True, layer=6, datatype=0))  # M2
sfq_dc.add(gdstk.FlexPath([(-37.4,-67),(-37.4,-68.5),(-32,-68.5),(-32,-83.6)], 1, ends="flush", simple_path=True, layer=6, datatype=0))  # M2
sfq_dc.add(gdstk.FlexPath([(-18.5,-67),(-18.5,-68.7),(-14.4,-68.7),(-14.4,-70.6)], 1, ends="flush", simple_path=True, layer=6, datatype=0))  # M2
sfq_dc.add(gdstk.FlexPath([(-28.3,-88.5),(-28.3,-68.5)], 2.8, ends="flush", simple_path=True, layer=6, datatype=0))  # M2
sfq_dc.add(gdstk.FlexPath([(-9,-72.5),(-6.7,-72.5),(-6.7,-80.3),(-4.2,-80.3)], 1, ends="flush", simple_path=True, layer=6, datatype=0))  # M2
sfq_dc.add(gdstk.FlexPath([(-40,-15),(15,-15)], 5, ends="flush", simple_path=True, layer=1, datatype=0))  # M1
sfq_dc.add(gdstk.FlexPath([(-34.7,-54),(-34.7,-19)], 2.8, ends="flush", simple_path=True, layer=1, datatype=0))  # M1
sfq_dc.add(gdstk.FlexPath([(6.5,-25),(12.5,-25)], 2.8, ends="flush", simple_path=True, layer=1, datatype=0))  # M1
sfq_dc.add(gdstk.FlexPath([(7.9,-36.4),(7.9,-31)], 2.8, ends="flush", simple_path=True, layer=1, datatype=0))  # M1
sfq_dc.add(gdstk.FlexPath([(-28.3,-35.5),(-28.3,-55.5)], 2.8, ends="flush", simple_path=True, layer=1, datatype=0))  # M1
sfq_dc.add(gdstk.FlexPath([(-12.1,-55),(-14.5,-55),(-14.5,-38.3)], 1, ends="flush", simple_path=True, layer=1, datatype=0))  # M1
sfq_dc.add(gdstk.FlexPath([(-18.4,-56.7),(-18.4,-42.3)], 1, ends="flush", simple_path=True, layer=1, datatype=0))  # M1
sfq_dc.add(gdstk.FlexPath([(-15.5,-91.4),(13.6,-91.4),(13.6,-48)], 2.8, ends="flush", simple_path=True, layer=1, datatype=0))  # M1
sfq_dc.add(gdstk.FlexPath([(-28.3,-88.5),(-28.3,-68.5)], 2.8, ends="flush", simple_path=True, layer=1, datatype=0))  # M1
sfq_dc.add(gdstk.FlexPath([(-34.7,-54),(-34.7,-19)], 2.8, ends="flush", simple_path=True, layer=10, datatype=0))  # M3
sfq_dc.add(gdstk.FlexPath([(6.5,-25),(12.5,-25)], 2.8, ends="flush", simple_path=True, layer=10, datatype=0))  # M3
sfq_dc.add(gdstk.FlexPath([(7.9,-36.4),(7.9,-31)], 2.8, ends="flush", simple_path=True, layer=10, datatype=0))  # M3
sfq_dc.add(gdstk.FlexPath([(-28.3,-35.5),(-28.3,-55.5)], 2.8, ends="flush", simple_path=True, layer=10, datatype=0))  # M3
sfq_dc.add(gdstk.FlexPath([(-15.5,-91.4),(13.6,-91.4),(13.6,-48)], 2.8, ends="flush", simple_path=True, layer=10, datatype=0))  # M3
sfq_dc.add(gdstk.FlexPath([(-28.3,-88.5),(-28.3,-68.5)], 2.8, ends="flush", simple_path=True, layer=10, datatype=0))  # M3
sfq_dc.add(gdstk.FlexPath([(-34.7,-53.1),(-34.7,-19.9)], 1, ends="flush", simple_path=True, layer=31, datatype=0))  # I0
sfq_dc.add(gdstk.FlexPath([(7.4,-25),(11.6,-25)], 1, ends="flush", simple_path=True, layer=31, datatype=0))  # I0
sfq_dc.add(gdstk.FlexPath([(7.9,-35.5),(7.9,-31.9)], 1, ends="flush", simple_path=True, layer=31, datatype=0))  # I0
sfq_dc.add(gdstk.FlexPath([(-28.3,-36.4),(-28.3,-54.6)], 1, ends="flush", simple_path=True, layer=31, datatype=0))  # I0
sfq_dc.add(gdstk.FlexPath([(-14.6,-91.4),(13.6,-91.4),(13.6,-48.9)], 1, ends="flush", simple_path=True, layer=31, datatype=0))  # I0
sfq_dc.add(gdstk.FlexPath([(-28.3,-87.6),(-28.3,-69.4)], 1, ends="flush", simple_path=True, layer=31, datatype=0))  # I0
sfq_dc.add(gdstk.FlexPath([(-34.7,-53.5),(-34.7,-19.5)], 1.8, ends="flush", simple_path=True, layer=8, datatype=0))  # I2
sfq_dc.add(gdstk.FlexPath([(7,-25),(12,-25)], 1.8, ends="flush", simple_path=True, layer=8, datatype=0))  # I2
sfq_dc.add(gdstk.FlexPath([(7.9,-35.9),(7.9,-31.5)], 1.8, ends="flush", simple_path=True, layer=8, datatype=0))  # I2
sfq_dc.add(gdstk.FlexPath([(-28.3,-36),(-28.3,-55)], 1.8, ends="flush", simple_path=True, layer=8, datatype=0))  # I2
sfq_dc.add(gdstk.FlexPath([(-15,-91.4),(13.6,-91.4),(13.6,-48.5)], 1.8, ends="flush", simple_path=True, layer=8, datatype=0))  # I2
sfq_dc.add(gdstk.FlexPath([(-28.3,-88),(-28.3,-69)], 1.8, ends="flush", simple_path=True, layer=8, datatype=0))  # I2
sfq_dc.add(gdstk.FlexPath([(-5.1,-10.8),(-40,-10.8)], 1, ends="flush", simple_path=True, layer=30, datatype=0))  # M0
sfq_dc.add(gdstk.FlexPath([(5,-19.1),(-6.2,-19.1),(-6.2,-22.6),(-12.3,-22.6)], 1, ends="flush", simple_path=True, layer=30, datatype=0))  # M0
sfq_dc.add(gdstk.FlexPath([(13.3,-18.6),(13.3,-46.1),(10.8,-46.1),(10.8,-90)], 1, ends="flush", simple_path=True, layer=30, datatype=0))  # M0
sfq_dc.add(gdstk.FlexPath([(-21.6,-18.7),(-21.6,-33.9),(-31.5,-33.9),(-31.5,-55.4),(-40,-55.4)], 1, ends="flush", simple_path=True, layer=30, datatype=0))  # M0
sfq_dc.add(gdstk.FlexPath([(-35,-90),(-35,-70)], 1, ends="flush", simple_path=True, layer=30, datatype=0))  # M0
sfq_dc.add(gdstk.FlexPath([(-6.8,-82),(-6.8,-89.5)], 1, ends="flush", simple_path=True, layer=30, datatype=0))  # M0
sfq_dc.add(gdstk.FlexPath([(-7.3,-89),(-19.9,-89)], 1, ends="flush", simple_path=True, layer=30, datatype=0))  # M0
sfq_dc.add(gdstk.Reference(ak_qc1p1j250sgu, (-28.9,-62), rotation=3*pi/2))
sfq_dc.add(gdstk.Reference(ak_qc1p1j450s, (-14.4,-76)))
sfq_dc.add(gdstk.Reference(ak_qc1vm2r2_3, (1.2,-16), rotation=pi))
sfq_dc.add(gdstk.Reference(ak_qc1vm2r2_3, (-32,-84.6)))
sfq_dc.add(gdstk.Reference(ak_qc1vm2r2_3, (-14.5,-35.3), rotation=pi))
sfq_dc.add(gdstk.Reference(ak_qc1vm2r2_3, (-32,-91.4)))
sfq_dc.add(gdstk.Reference(ak_qc1vm2r2_3, (-17.9,-30), rotation=pi))
sfq_dc.add(gdstk.Reference(ak_qc1vm2r2_3, (-14.5,-30), rotation=pi))
sfq_dc.add(gdstk.Reference(ak_qc1vm2r2_3, (-5.2,-16), rotation=pi))
sfq_dc.add(gdstk.Reference(ak_qc1vm2r2_3, (-17.9,-39.3), rotation=pi))
sfq_dc.add(gdstk.Reference(ak_qc1p1j460sgd, (-0.5,-29.6), rotation=3*pi/2))
sfq_dc.add(gdstk.Reference(ak_qc1p1j000sgd, (0,-4.5), rotation=3*pi/2))
sfq_dc.add(gdstk.Reference(ak_qc1vm21_2, (-17.9,-16.5)))
sfq_dc.add(gdstk.Reference(ak_qc1vm21_2, (-14.5,-16.5)))
sfq_dc.add(gdstk.Reference(ak_qc1vm21_2, (-17.9,-41.3)))
sfq_dc.add(gdstk.Reference(ak_qc1vm21_2, (-14.5,-37.3)))
sfq_dc.add(gdstk.Reference(ak_qc1p2j200sgd, (2.3,-77.4)))
sfq_dc.add(gdstk.Reference(ak_qc1p1j030, (-18,-62), rotation=pi))
sfq_dc.add(gdstk.Reference(ak_qc1p1j050sgd, (-7.1,-47), rotation=pi))
sfq_dc.add(gdstk.Reference(ak_qc1p1j300sgd, (3.9,-47.5), rotation=pi))
sfq_dc.add(gdstk.Reference(ak_qc1p2j900s, (-4.4,-61.6), rotation=pi/2))

lib.write_gds('SFQ-DC.gds')
